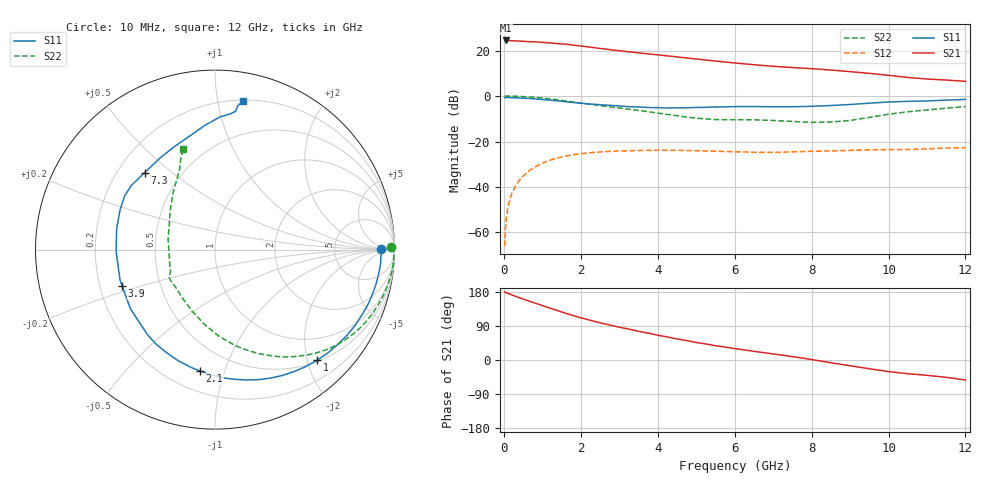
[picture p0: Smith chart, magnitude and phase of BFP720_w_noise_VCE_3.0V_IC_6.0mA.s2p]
! Infineon Technologies  Discrete & RF Semiconductors
! BFP720
! VCE =  3.0 V,  IC =  6.0 mA
! Common Emitter S-Parameters:  Aug 2012
# GHz  S  MA  R  50
!  f  S11  S21  S12  S22
! GHz  MAG  ANG  MAG  ANG  MAG  ANG  MAG  ANG
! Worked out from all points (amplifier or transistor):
!   105 points, 10 MHz to 12 GHz, reference 50 ohm
!   highest |S21| = 24.4 dB at 50 MHz (marker M1)
!   |S21| within 3 dB of that: start of sweep to 2.252 GHz
!   unconditionally stable (mu >= 1): 6.313 GHz to 11.4 GHz
!   at 300 MHz: K = 0.06, MSG = 31.8 dB, |S12| = -39.4 dB
!   at 3.6 GHz: K = 0.54, MSG = 21.4 dB, |S12| = -23.9 dB
!   at 12 GHz: K = 0.81, MSG = 14.6 dB, |S12| = -22.7 dB
!   lowest NFmin = 0.43 dB at 450 MHz
!   S11 on the Smith chart (normalised r, x): 10 MHz: 25, +1; 1 GHz: 0.52, -2.17; 2.1 GHz: 0.33, -0.83; 3.9 GHz: 0.29, -0.17; 7.3 GHz: 0.31, +0.40; 12 GHz: 0.21, +1.19
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0.01  0.9238 0.2  16.55 179.9  0.0005 -68.2  0.983 0.8
0.02  0.9268 -0.9  16.48 178.5  0.0007 83.8  0.9966 -0.5
0.05  0.9256 -2.3  16.65 177.4  0.0019 76.8  0.9968 -1.6
0.2  0.9208 -9.4  16.43 171.7  0.0072 83.9  0.9933 -6.4
0.45  0.9023 -21.1  16.01 162.3  0.0159 77.1  0.975 -14.4
0.8  0.8639 -37.9  15.55 150.2  0.0275 67.2  0.9337 -25.3
1  0.8385 -47.4  15.11 143.4  0.0336 61.6  0.9017 -31.5
1.3  0.7953 -61.8  14.43 133.2  0.0415 53.5  0.8452 -40.5
1.6  0.7477 -76.2  13.77 123.2  0.0479 46.0  0.7823 -48.6
2.1  0.6808 -97.0  12.22 108.6  0.0552 35.1  0.6816 -60.6
2.6  0.6347 -115.2  10.84 95.7  0.0597 26.3  0.5991 -70.8
3  0.6054 -128.3  9.89 86.5  0.062 20.6  0.5449 -78.3
3.5  0.5752 -145.0  8.9 75.6  0.0636 14.4  0.4816 -87.6
3.9  0.5558 -158.5  8.182 67.5  0.064 10.1  0.4332 -95.5
4.1  0.5511 -165.4  7.858 63.5  0.0641 8.2  0.4102 -99.9
5  0.5601 168.0  6.52 46.1  0.0629 0.5  0.3257 -123.5
6.1  0.5854 147.8  5.23 28.7  0.0591 -4.3  0.3005 -145.2
7.3  0.5809 132.4  4.331 11.8  0.0585 -3.8  0.2816 -152.4
8.5  0.618 111.1  3.722 -7.3  0.062 -6.0  0.2675 167.7
9.5  0.6955 94.5  3.148 -23.0  0.0657 -8.7  0.3386 137.1
10.5  0.763 83.3  2.558 -36.2  0.0668 -11.8  0.4503 117.9
12  0.8422 79.2  2.104 -52.7  0.0732 -17.4  0.5856 107.6
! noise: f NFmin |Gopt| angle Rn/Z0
0.45  0.43  0.44  3  0.13
1.8  0.51  0.42  24  0.13
2.4  0.55  0.3  55  0.23
5.5  0.69  0.2  58  0.14
10  0.95  0.39  -89  0.21
